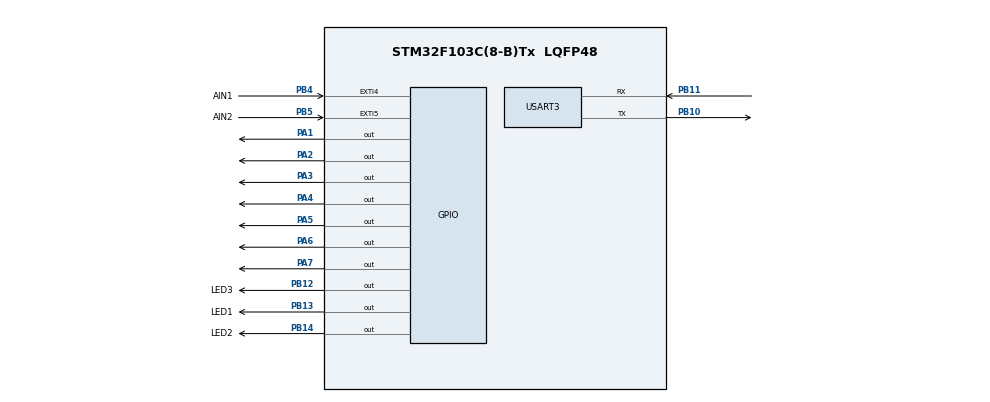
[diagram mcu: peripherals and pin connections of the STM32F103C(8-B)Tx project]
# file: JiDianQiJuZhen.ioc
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Mcu.Family=STM32F1
Mcu.Name=STM32F103C(8-B)Tx
Mcu.Package=LQFP48
NVIC.EXTI4_IRQn=true\:0\:0\:false\:false\:true\:true\:true\:true
NVIC.EXTI9_5_IRQn=true\:0\:0\:false\:false\:true\:true\:true\:true
NVIC.PriorityGroup=NVIC_PRIORITYGROUP_4
NVIC.USART3_IRQn=true\:0\:0\:false\:false\:true\:true\:true\:true
PA0-WKUP.Mode=SYS_WakeUp0
PA0-WKUP.Signal=SYS_WKUP
PA1.Signal=GPIO_Output
PA13.Mode=Serial_Wire
PA13.Signal=SYS_JTMS-SWDIO
PA14.Mode=Serial_Wire
PA14.Signal=SYS_JTCK-SWCLK
PA2.Signal=GPIO_Output
PA3.Signal=GPIO_Output
PA4.Signal=GPIO_Output
PA5.Signal=GPIO_Output
PA6.Signal=GPIO_Output
PA7.Signal=GPIO_Output
PB10.Mode=Asynchronous
PB10.Signal=USART3_TX
PB11.Mode=Asynchronous
PB11.Signal=USART3_RX
PB12.GPIO_Label=LED3
PB12.Signal=GPIO_Output
PB13.GPIO_Label=LED1
PB13.Signal=GPIO_Output
PB14.GPIO_Label=LED2
PB14.Signal=GPIO_Output
PB4.GPIO_Label=AIN1
PB4.Signal=GPXTI4
PB5.GPIO_Label=AIN2
PB5.Signal=GPXTI5
ProjectManager.HeapSize=0x200
ProjectManager.StackSize=0x400
ProjectManager.TargetToolchain=MDK-ARM V5.32
RCC.APB1Freq_Value=8000000
RCC.APB2Freq_Value=8000000
USART3.VirtualMode=VM_ASYNC
board=custom

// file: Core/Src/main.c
/* USER CODE BEGIN Header */
/**
  ******************************************************************************
  * @file           : main.c
  * @brief          : Main program body
  ******************************************************************************
  * @attention
  *
  * Copyright (c) 2026 STMicroelectronics.
  * All rights reserved.
  *
  * This software is licensed under terms that can be found in the LICENSE file
  * in the root directory of this software component.
  * If no LICENSE file comes with this software, it is provided AS-IS.
  *
  ******************************************************************************
  */
/* USER CODE END Header */
#include "main.h"

/* USER CODE BEGIN Includes */
#include "stdio.h"
/* USER CODE END Includes */

/* USER CODE BEGIN PD */
uint8_t rx;
char message='1';
/* USER CODE END PD */

UART_HandleTypeDef huart3;

void SystemClock_Config(void);
static void MX_GPIO_Init(void);
static void MX_USART3_UART_Init(void);

/* USER CODE BEGIN 0 */
void ciss()
{
	HAL_GPIO_WritePin(GPIOA,GPIO_PIN_1,GPIO_PIN_SET);
	HAL_GPIO_WritePin(GPIOA,GPIO_PIN_2,GPIO_PIN_SET);
	HAL_GPIO_WritePin(GPIOA,GPIO_PIN_3,GPIO_PIN_SET);
	HAL_GPIO_WritePin(GPIOA,GPIO_PIN_4,GPIO_PIN_SET);
	HAL_GPIO_WritePin(GPIOA,GPIO_PIN_5,GPIO_PIN_SET);
	HAL_GPIO_WritePin(GPIOA,GPIO_PIN_6,GPIO_PIN_SET);
	HAL_GPIO_WritePin(GPIOA,GPIO_PIN_7,GPIO_PIN_SET);
}
void coss()
{
	HAL_GPIO_WritePin(GPIOA,GPIO_PIN_1,GPIO_PIN_SET);
	HAL_GPIO_WritePin(GPIOA,GPIO_PIN_2,GPIO_PIN_RESET);
	HAL_GPIO_WritePin(GPIOA,GPIO_PIN_3,GPIO_PIN_RESET);
	HAL_GPIO_WritePin(GPIOA,GPIO_PIN_4,GPIO_PIN_RESET);
	HAL_GPIO_WritePin(GPIOA,GPIO_PIN_5,GPIO_PIN_RESET);
	HAL_GPIO_WritePin(GPIOA,GPIO_PIN_6,GPIO_PIN_SET);
	HAL_GPIO_WritePin(GPIOA,GPIO_PIN_7,GPIO_PIN_SET);

}
void crss()
{
	HAL_GPIO_WritePin(GPIOA,GPIO_PIN_1,GPIO_PIN_SET);
	HAL_GPIO_WritePin(GPIOA,GPIO_PIN_2,GPIO_PIN_RESET);
	HAL_GPIO_WritePin(GPIOA,GPIO_PIN_3,GPIO_PIN_RESET);
	HAL_GPIO_WritePin(GPIOA,GPIO_PIN_4,GPIO_PIN_RESET);
	HAL_GPIO_WritePin(GPIOA,GPIO_PIN_5,GPIO_PIN_SET);
	HAL_GPIO_WritePin(GPIOA,GPIO_PIN_6,GPIO_PIN_RESET);
	HAL_GPIO_WritePin(GPIOA,GPIO_PIN_7,GPIO_PIN_SET);
}
void rg()
{
	HAL_GPIO_WritePin(GPIOA,GPIO_PIN_1,GPIO_PIN_RESET);
	HAL_GPIO_WritePin(GPIOA,GPIO_PIN_2,GPIO_PIN_RESET);
	HAL_GPIO_WritePin(GPIOA,GPIO_PIN_3,GPIO_PIN_SET);
	HAL_GPIO_WritePin(GPIOA,GPIO_PIN_4,GPIO_PIN_SET);
	HAL_GPIO_WritePin(GPIOA,GPIO_PIN_5,GPIO_PIN_SET);
	HAL_GPIO_WritePin(GPIOA,GPIO_PIN_6,GPIO_PIN_SET);
	HAL_GPIO_WritePin(GPIOA,GPIO_PIN_7,GPIO_PIN_RESET);
}
void  reset()
{
	HAL_GPIO_WritePin(GPIOA,GPIO_PIN_1,GPIO_PIN_RESET);
	HAL_GPIO_WritePin(GPIOA,GPIO_PIN_2,GPIO_PIN_RESET);
	HAL_GPIO_WritePin(GPIOA,GPIO_PIN_3,GPIO_PIN_RESET);
	HAL_GPIO_WritePin(GPIOA,GPIO_PIN_4,GPIO_PIN_RESET);
	HAL_GPIO_WritePin(GPIOA,GPIO_PIN_5,GPIO_PIN_SET);
	HAL_GPIO_WritePin(GPIOA,GPIO_PIN_6,GPIO_PIN_RESET);
	HAL_GPIO_WritePin(GPIOA,GPIO_PIN_7,GPIO_PIN_RESET);
}
void  cossset()
{
	HAL_GPIO_WritePin(GPIOA,GPIO_PIN_1,GPIO_PIN_RESET);
	HAL_GPIO_WritePin(GPIOA,GPIO_PIN_2,GPIO_PIN_RESET);
	HAL_GPIO_WritePin(GPIOA,GPIO_PIN_3,GPIO_PIN_RESET);
	HAL_GPIO_WritePin(GPIOA,GPIO_PIN_4,GPIO_PIN_RESET);
	HAL_GPIO_WritePin(GPIOA,GPIO_PIN_5,GPIO_PIN_RESET);
	HAL_GPIO_WritePin(GPIOA,GPIO_PIN_6,GPIO_PIN_RESET);
	HAL_GPIO_WritePin(GPIOA,GPIO_PIN_7,GPIO_PIN_RESET);
}
void  cissset()
{
	HAL_GPIO_WritePin(GPIOA,GPIO_PIN_1,GPIO_PIN_RESET);
	HAL_GPIO_WritePin(GPIOA,GPIO_PIN_2,GPIO_PIN_SET);
	HAL_GPIO_WritePin(GPIOA,GPIO_PIN_3,GPIO_PIN_SET);
	HAL_GPIO_WritePin(GPIOA,GPIO_PIN_4,GPIO_PIN_SET);
	HAL_GPIO_WritePin(GPIOA,GPIO_PIN_5,GPIO_PIN_SET);
	HAL_GPIO_WritePin(GPIOA,GPIO_PIN_6,GPIO_PIN_RESET);
	HAL_GPIO_WritePin(GPIOA,GPIO_PIN_7,GPIO_PIN_RESET);
}
void  crssset()
{
	HAL_GPIO_WritePin(GPIOA,GPIO_PIN_1,GPIO_PIN_RESET);
	HAL_GPIO_WritePin(GPIOA,GPIO_PIN_2,GPIO_PIN_RESET);
	HAL_GPIO_WritePin(GPIOA,GPIO_PIN_3,GPIO_PIN_RESET);
	HAL_GPIO_WritePin(GPIOA,GPIO_PIN_4,GPIO_PIN_RESET);
	HAL_GPIO_WritePin(GPIOA,GPIO_PIN_5,GPIO_PIN_SET);
	HAL_GPIO_WritePin(GPIOA,GPIO_PIN_6,GPIO_PIN_RESET);
	HAL_GPIO_WritePin(GPIOA,GPIO_PIN_7,GPIO_PIN_RESET);
}
void HAL_UART_RxCpltCallback(UART_HandleTypeDef *huart)
{
	if(huart==&huart3)
	{

		switch (rx)
		{
			case '1':{
				ciss();
				HAL_UART_Transmit(&huart3,&rx,1,100);
				break;
			}
			case '2':{
				cissset();
				HAL_UART_Transmit(&huart3,&rx,1,100);
				break;
			}
			case '3':{
				coss();
				HAL_UART_Transmit(&huart3,&rx,1,100);
				break;
			}
			case '4':{
				cossset();
				HAL_UART_Transmit(&huart3,&rx,1,100);
				break;
			}
			case '5':{
				crss();
				HAL_UART_Transmit(&huart3,&rx,1,100);
				break;
			}
			case '6':{
				crssset();
				HAL_UART_Transmit(&huart3,&rx,1,100);
				break;
			}
			case '7':{
				rg();
				HAL_UART_Transmit(&huart3,&rx,1,100);
				break;
			}
			case '8':{
				reset();
				HAL_UART_Transmit(&huart3,&rx,1,100);
				break;
			}
		}
	}
	HAL_UART_Receive_IT(&huart3,&rx,1);
}
void HAL_GPIO_EXTI_Callback(uint16_t GPIO_Pin)
{
	if(GPIO_Pin==AIN1_Pin){
	crssset();
	HAL_GPIO_WritePin(LED1_GPIO_Port,LED1_Pin,GPIO_PIN_SET);
	HAL_GPIO_WritePin(LED2_GPIO_Port,LED2_Pin,GPIO_PIN_SET);
	HAL_GPIO_WritePin(LED3_GPIO_Port,LED3_Pin,GPIO_PIN_RESET);
	}
	if(GPIO_Pin==AIN2_Pin)
	{
	HAL_GPIO_WritePin(LED1_GPIO_Port,LED1_Pin,GPIO_PIN_RESET);
	HAL_GPIO_WritePin(LED2_GPIO_Port,LED2_Pin,GPIO_PIN_RESET);
	HAL_GPIO_WritePin(LED3_GPIO_Port,LED3_Pin,GPIO_PIN_SET);
		crss();
	}
}
/* USER CODE END 0 */

int main(void)
{

  /* MCU Configuration--------------------------------------------------------*/

  /* Reset of all peripherals, Initializes the Flash interface and the Systick. */
  HAL_Init();

  /* Configure the system clock */
  SystemClock_Config();

  /* Initialize all configured peripherals */
  MX_GPIO_Init();
  MX_USART3_UART_Init();
  /* USER CODE BEGIN 2 */
HAL_UART_Receive_IT(&huart3,&rx,1);
HAL_UART_Transmit(&huart3,(uint8_t*)&message,1,100);
crss();
  /* USER CODE END 2 */

  /* Infinite loop */
  while (1)
  {

  }
}

void SystemClock_Config(void)
{
  RCC_OscInitTypeDef RCC_OscInitStruct = {0};
  RCC_ClkInitTypeDef RCC_ClkInitStruct = {0};

  /** Initializes the RCC Oscillators according to the specified parameters
  * in the RCC_OscInitTypeDef structure.
  */
  RCC_OscInitStruct.OscillatorType = RCC_OSCILLATORTYPE_HSI;
  RCC_OscInitStruct.HSIState = RCC_HSI_ON;
  RCC_OscInitStruct.HSICalibrationValue = RCC_HSICALIBRATION_DEFAULT;
  RCC_OscInitStruct.PLL.PLLState = RCC_PLL_NONE;
  if (HAL_RCC_OscConfig(&RCC_OscInitStruct) != HAL_OK)
  {
    Error_Handler();
  }

  /** Initializes the CPU, AHB and APB buses clocks
  */
  RCC_ClkInitStruct.ClockType = RCC_CLOCKTYPE_HCLK|RCC_CLOCKTYPE_SYSCLK
                              |RCC_CLOCKTYPE_PCLK1|RCC_CLOCKTYPE_PCLK2;
  RCC_ClkInitStruct.SYSCLKSource = RCC_SYSCLKSOURCE_HSI;
  RCC_ClkInitStruct.AHBCLKDivider = RCC_SYSCLK_DIV1;
  RCC_ClkInitStruct.APB1CLKDivider = RCC_HCLK_DIV1;
  RCC_ClkInitStruct.APB2CLKDivider = RCC_HCLK_DIV1;

  if (HAL_RCC_ClockConfig(&RCC_ClkInitStruct, FLASH_LATENCY_0) != HAL_OK)
  {
    Error_Handler();
  }
}

static void MX_USART3_UART_Init(void)
{

  huart3.Instance = USART3;
  huart3.Init.BaudRate = 115200;
  huart3.Init.WordLength = UART_WORDLENGTH_8B;
  huart3.Init.StopBits = UART_STOPBITS_1;
  huart3.Init.Parity = UART_PARITY_NONE;
  huart3.Init.Mode = UART_MODE_TX_RX;
  huart3.Init.HwFlowCtl = UART_HWCONTROL_NONE;
  huart3.Init.OverSampling = UART_OVERSAMPLING_16;
  if (HAL_UART_Init(&huart3) != HAL_OK)
  {
    Error_Handler();
  }

}

static void MX_GPIO_Init(void)
{
  GPIO_InitTypeDef GPIO_InitStruct = {0};

  /* GPIO Ports Clock Enable */
  __HAL_RCC_GPIOA_CLK_ENABLE();
  __HAL_RCC_GPIOB_CLK_ENABLE();

  /*Configure GPIO pin Output Level */
  HAL_GPIO_WritePin(GPIOA, GPIO_PIN_1|GPIO_PIN_2|GPIO_PIN_3|GPIO_PIN_4
                          |GPIO_PIN_5|GPIO_PIN_6|GPIO_PIN_7, GPIO_PIN_RESET);

  /*Configure GPIO pin Output Level */
  HAL_GPIO_WritePin(GPIOB, LED3_Pin|LED1_Pin|LED2_Pin, GPIO_PIN_RESET);

  /*Configure GPIO pins : PA1 PA2 PA3 PA4
                           PA5 PA6 PA7 */
  GPIO_InitStruct.Pin = GPIO_PIN_1|GPIO_PIN_2|GPIO_PIN_3|GPIO_PIN_4
                          |GPIO_PIN_5|GPIO_PIN_6|GPIO_PIN_7;
  GPIO_InitStruct.Mode = GPIO_MODE_OUTPUT_PP;
  GPIO_InitStruct.Pull = GPIO_NOPULL;
  GPIO_InitStruct.Speed = GPIO_SPEED_FREQ_LOW;
  HAL_GPIO_Init(GPIOA, &GPIO_InitStruct);

  /*Configure GPIO pins : LED3_Pin LED1_Pin LED2_Pin */
  GPIO_InitStruct.Pin = LED3_Pin|LED1_Pin|LED2_Pin;
  GPIO_InitStruct.Mode = GPIO_MODE_OUTPUT_PP;
  GPIO_InitStruct.Pull = GPIO_NOPULL;
  GPIO_InitStruct.Speed = GPIO_SPEED_FREQ_LOW;
  HAL_GPIO_Init(GPIOB, &GPIO_InitStruct);

  /*Configure GPIO pins : AIN1_Pin AIN2_Pin */
  GPIO_InitStruct.Pin = AIN1_Pin|AIN2_Pin;
  GPIO_InitStruct.Mode = GPIO_MODE_IT_RISING;
  GPIO_InitStruct.Pull = GPIO_NOPULL;
  HAL_GPIO_Init(GPIOB, &GPIO_InitStruct);

  /* EXTI interrupt init*/
  HAL_NVIC_SetPriority(EXTI4_IRQn, 0, 0);
  HAL_NVIC_EnableIRQ(EXTI4_IRQn);

  HAL_NVIC_SetPriority(EXTI9_5_IRQn, 0, 0);
  HAL_NVIC_EnableIRQ(EXTI9_5_IRQn);

}

void Error_Handler(void)
{
  __disable_irq();
  while (1)
  {
  }
}
